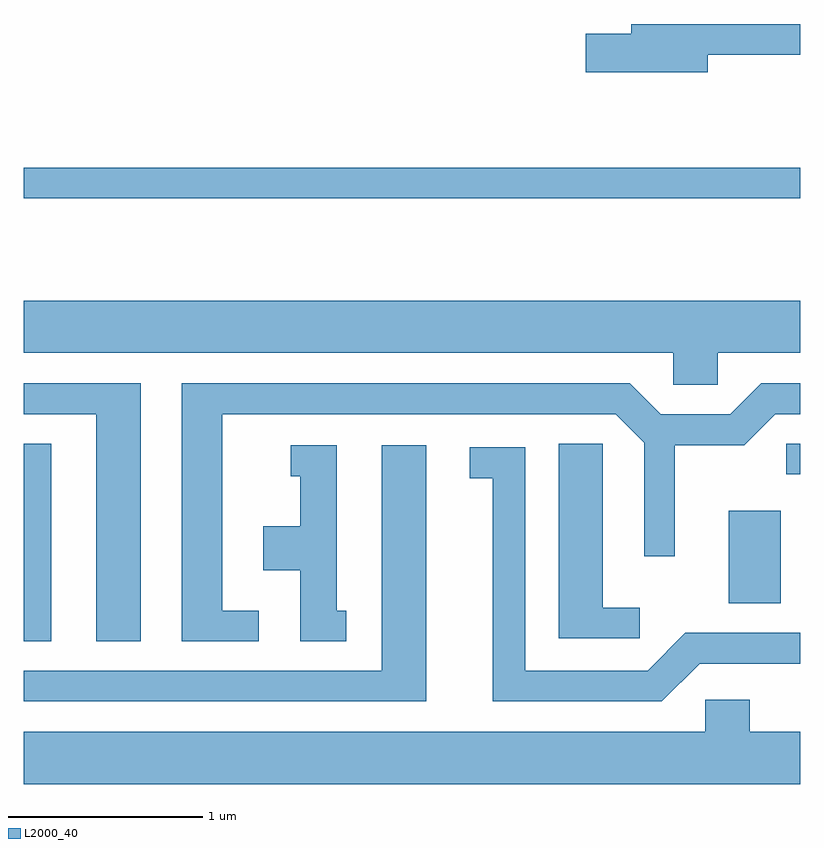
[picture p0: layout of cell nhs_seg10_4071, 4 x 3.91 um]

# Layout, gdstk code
import gdstk
lib = gdstk.Library(unit=1e-6, precision=1e-09)
def R(c, l, rs):  # rectangles x0, y0, x1, y1
    for r in rs: c.add(gdstk.rectangle(r[:2], r[2:], *l))
def P(c, l, *ps):  # polygons
    for p in ps: c.add(gdstk.Polygon(p, *l))
L2000_40 = (2000, 40)

nhs_seg10_4071 = lib.new_cell('nhs_seg10_4071')
R(nhs_seg10_4071, L2000_40, [(305.611,2101.331,305.754,2102.349), (309.241,2101.526,309.509,2102.004), (309.538,2102.191,309.611,2102.349), (305.611,2103.611,309.611,2103.769)])
P(nhs_seg10_4071, L2000_40, [(309.134,2104.351),(309.611,2104.351),(309.611,2104.509),(308.741,2104.509),(308.741,2104.459),(308.506,2104.459),(308.506,2104.261),(309.134,2104.261)],
  [(309.184,2102.816),(309.611,2102.816),(309.611,2103.084),(305.611,2103.084),(305.611,2102.816),(308.956,2102.816),(308.956,2102.651),(309.184,2102.651)],
  [(306.823,2101.489),(306.634,2101.489),(306.634,2102.501),(308.659,2102.501),(308.806,2102.354),(308.806,2101.768),(308.964,2101.768),(308.964,2102.341),(309.322,2102.341),(309.482,2102.501),(309.611,2102.501),(309.611,2102.659),(309.409,2102.659),(309.249,2102.499),(308.892,2102.499),(308.732,2102.659),(306.426,2102.659),(306.426,2101.331),(306.823,2101.331)],
  [(306.214,2102.659),(305.611,2102.659),(305.611,2102.501),(305.986,2102.501),(305.986,2101.331),(306.214,2101.331)],
  [(308.783,2101.504),(308.594,2101.504),(308.594,2102.349),(308.366,2102.349),(308.366,2101.346),(308.783,2101.346)],
  [(307.273,2101.489),(307.224,2101.489),(307.224,2102.339),(306.988,2102.339),(306.988,2102.181),(307.036,2102.181),(307.036,2101.924),(306.846,2101.924),(306.846,2101.696),(307.036,2101.696),(307.036,2101.331),(307.273,2101.331)],
  [(307.684,2102.339),(307.456,2102.339),(307.456,2101.179),(305.611,2101.179),(305.611,2101.021),(307.684,2101.021)],
  [(309.092,2101.216),(309.611,2101.216),(309.611,2101.374),(309.019,2101.374),(308.824,2101.179),(308.194,2101.179),(308.194,2102.329),(307.908,2102.329),(307.908,2102.171),(308.026,2102.171),(308.026,2101.021),(308.897,2101.021)],
  [(309.611,2100.864),(309.349,2100.864),(309.349,2101.029),(309.121,2101.029),(309.121,2100.864),(305.611,2100.864),(305.611,2100.596),(309.611,2100.596)])

lib.write_gds('nhs_seg10_4071.gds')
